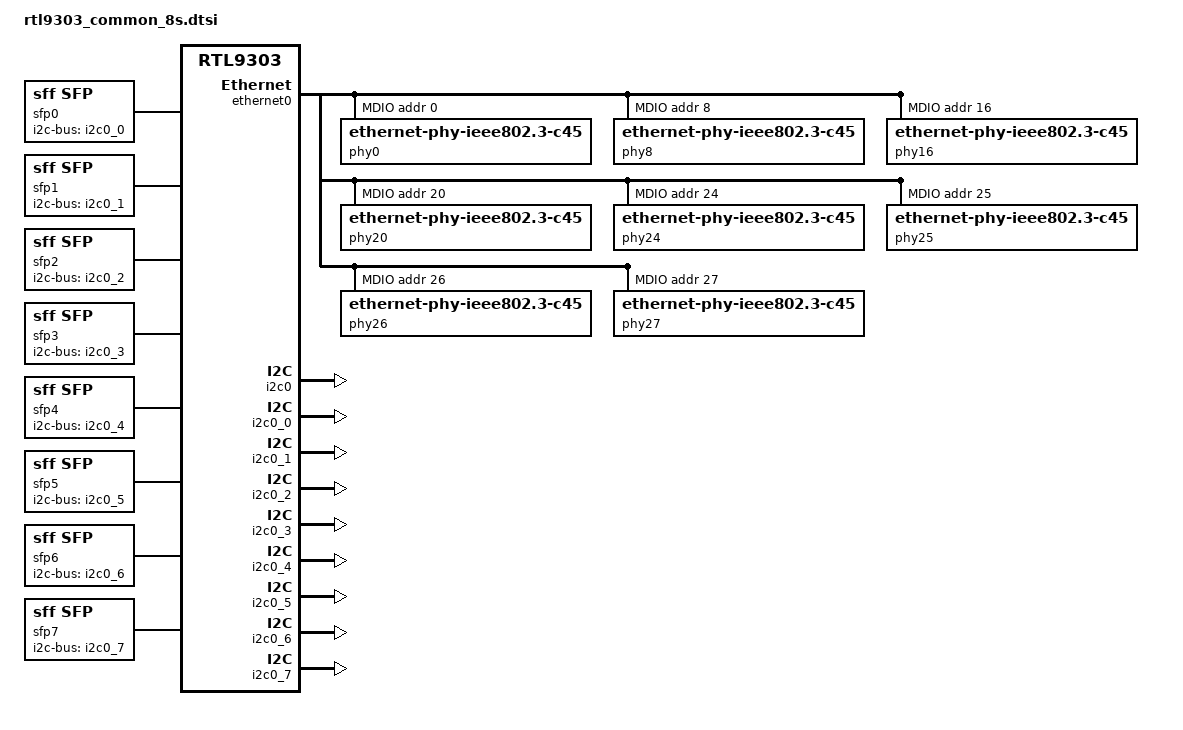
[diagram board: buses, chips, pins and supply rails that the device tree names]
// SPDX-License-Identifier: (GPL-2.0-or-later OR MIT)

/ {
	sfp0: sfp-p0 {
		compatible = "sff,sfp";
		i2c-bus = <&i2c0_0>;
	};

	sfp1: sfp-p8 {
		compatible = "sff,sfp";
		i2c-bus = <&i2c0_1>;
	};

	sfp2: sfp-p16 {
		compatible = "sff,sfp";
		i2c-bus = <&i2c0_2>;
	};

	sfp3: sfp-p20 {
		compatible = "sff,sfp";
		i2c-bus = <&i2c0_3>;
	};

	sfp4: sfp-p24 {
		compatible = "sff,sfp";
		i2c-bus = <&i2c0_4>;
	};

	sfp5: sfp-p25 {
		compatible = "sff,sfp";
		i2c-bus = <&i2c0_5>;
	};

	sfp6: sfp-p26 {
		compatible = "sff,sfp";
		i2c-bus = <&i2c0_6>;
	};

	sfp7: sfp-p27 {
		compatible = "sff,sfp";
		i2c-bus = <&i2c0_7>;
	};
};

&ethernet0 {
	mdio0: mdio-bus {
		compatible = "realtek,rtl9303-mdio", "realtek,rtl930x-mdio", "realtek,rtl838x-mdio";
		regmap = <&ethernet0>;
		#address-cells = <1>;
		#size-cells = <0>;

		/* 8 SFP+ 10Gbps internal ports */
		phy0: ethernet-phy@0 {
			reg = <0>;
			compatible = "ethernet-phy-ieee802.3-c45";
			phy-is-integrated;
			sds = <2>;
		};

		phy8: ethernet-phy@8 {
			compatible = "ethernet-phy-ieee802.3-c45";
			reg = <8>;
			phy-is-integrated;
			sds = <3>;
		};

		phy16: ethernet-phy@16 {
			reg = <16>;
			compatible = "ethernet-phy-ieee802.3-c45";
			phy-is-integrated;
			sds = <4>;
		};

		phy20: ethernet-phy@20 {
			reg = <20>;
			compatible = "ethernet-phy-ieee802.3-c45";
			phy-is-integrated;
			sds = <5>;
		};

		phy24: ethernet-phy@24 {
			reg = <24>;
			compatible = "ethernet-phy-ieee802.3-c45";
			phy-is-integrated;
			sds = <6>;
		};

		phy25: ethernet-phy@25 {
			reg = <25>;
			compatible = "ethernet-phy-ieee802.3-c45";
			phy-is-integrated;
			sds = <7>;
		};

		phy26: ethernet-phy@26 {
			reg = <26>;
			compatible = "ethernet-phy-ieee802.3-c45";
			phy-is-integrated;
			sds = <8>;
		};

		phy27: ethernet-phy@27 {
			reg = <27>;
			compatible = "ethernet-phy-ieee802.3-c45";
			phy-is-integrated;
			sds = <9>;
		};
	};
};

&i2c0 {
	status = "okay";
};

&i2c0_0 {
	status = "okay";
};

&i2c0_1 {
	status = "okay";
};

&i2c0_2 {
	status = "okay";
};

&i2c0_3 {
	status = "okay";
};

&i2c0_4 {
	status = "okay";
};

&i2c0_5 {
	status = "okay";
};

&i2c0_6 {
	status = "okay";
};

&i2c0_7 {
	status = "okay";
};
